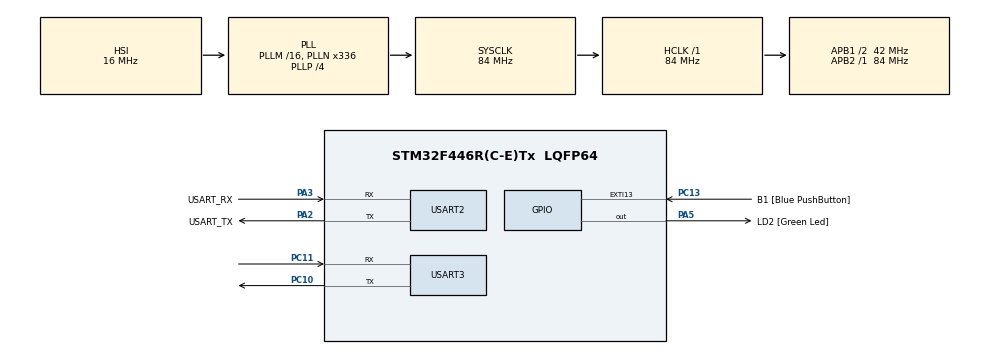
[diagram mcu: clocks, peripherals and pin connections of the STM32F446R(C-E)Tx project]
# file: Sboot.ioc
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Mcu.Family=STM32F4
Mcu.Name=STM32F446R(C-E)Tx
Mcu.Package=LQFP64
NVIC.PriorityGroup=NVIC_PRIORITYGROUP_0
PA13.GPIO_Label=TMS
PA13.Mode=Serial_Wire
PA13.Signal=SYS_JTMS-SWDIO
PA14.GPIO_Label=TCK
PA14.Mode=Serial_Wire
PA14.Signal=SYS_JTCK-SWCLK
PA2.GPIO_Label=USART_TX
PA2.Mode=Asynchronous
PA2.Signal=USART2_TX
PA3.GPIO_Label=USART_RX
PA3.Mode=Asynchronous
PA3.Signal=USART2_RX
PA5.GPIO_Label=LD2 [Green Led]
PA5.Signal=GPIO_Output
PB3.GPIO_Label=SWO
PB3.Signal=SYS_JTDO-SWO
PC10.Mode=Asynchronous
PC10.Signal=USART3_TX
PC11.Mode=Asynchronous
PC11.Signal=USART3_RX
PC13.GPIO_Label=B1 [Blue PushButton]
PC13.GPIO_ModeDefaultEXTI=GPIO_MODE_IT_FALLING
PC13.Signal=GPXTI13
PC14-OSC32_IN.Mode=LSE-External-Oscillator
PC14-OSC32_IN.Signal=RCC_OSC32_IN
PC15-OSC32_OUT.Mode=LSE-External-Oscillator
PC15-OSC32_OUT.Signal=RCC_OSC32_OUT
PH0-OSC_IN.Mode=HSE-External-Oscillator
PH0-OSC_IN.Signal=RCC_OSC_IN
PH1-OSC_OUT.Mode=HSE-External-Oscillator
PH1-OSC_OUT.Signal=RCC_OSC_OUT
ProjectManager.HeapSize=0x200
ProjectManager.StackSize=0x400
ProjectManager.TargetToolchain=STM32CubeIDE
RCC.48MHZClocksFreq_Value=84000000
RCC.AHBFreq_Value=84000000
RCC.APB1CLKDivider=RCC_HCLK_DIV2
RCC.APB1Freq_Value=42000000
RCC.APB1TimFreq_Value=84000000
RCC.APB2Freq_Value=84000000
RCC.APB2TimFreq_Value=84000000
RCC.CortexFreq_Value=84000000
RCC.FLatency-AdvancedSettings=FLASH_LATENCY_2
RCC.HCLKFreq_Value=84000000
RCC.HSE_VALUE=8000000
RCC.HSI_VALUE=16000000
RCC.PLLN=336
RCC.PLLP=RCC_PLLP_DIV4
RCC.SYSCLKFreq_VALUE=84000000
RCC.SYSCLKSource=RCC_SYSCLKSOURCE_PLLCLK
RCC.USBFreq_Value=168000000
RCC.VCOOutputFreq_Value=336000000
USART2.VirtualMode=VM_ASYNC
USART3.VirtualMode=VM_ASYNC
VP_CRC_VS_CRC.Mode=CRC_Activate
board=NUCLEO-F446RE

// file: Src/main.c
/* USER CODE BEGIN Header */
/**
 ******************************************************************************
 * @file           : main.c
 * @brief          : Main program body
 ******************************************************************************
 * @attention
 *
 * <h2><center>&copy; Copyright (c) 2019 STMicroelectronics.
 * All rights reserved.</center></h2>
 *
 * This software component is licensed by ST under BSD 3-Clause license,
 * the "License"; You may not use this file except in compliance with the
 * License. You may obtain a copy of the License at:
 *                        opensource.org/licenses/BSD-3-Clause
 *
 ******************************************************************************
 */
/* USER CODE END Header */

#include "main.h"

#include <stdint.h>
#include <stdarg.h>
#include <string.h>

/* USER CODE BEGIN PD */

// Uncomment the below line to get debug messages over debug uart
#define BL_DEBUG_MSG_EN

#define D_UART &huart3
#define C_UART &huart2

/* USER CODE END PD */

CRC_HandleTypeDef hcrc;

UART_HandleTypeDef huart2;
UART_HandleTypeDef huart3;

void SystemClock_Config(void);
static void MX_GPIO_Init(void);
static void MX_USART2_UART_Init(void);
static void MX_CRC_Init(void);
static void MX_USART3_UART_Init(void);

/* USER CODE BEGIN 0 */
#define BL_RX_LEN  200
uint8_t bl_rx_buffer[BL_RX_LEN];
/* USER CODE END 0 */

int main(void)
{

	/* MCU Configuration--------------------------------------------------------*/

	/* Reset of all peripherals, Initializes the Flash interface and the Systick. */
	HAL_Init();

	/* Configure the system clock */
	SystemClock_Config();

	/* Initialize all configured peripherals */
	MX_GPIO_Init();
	MX_USART2_UART_Init();
	MX_CRC_Init();
	MX_USART3_UART_Init();

	/* USER CODE BEGIN 2 */

	printmsg("BL_DEBUG_MSG:Hello from Bootloader\n\r");

	/* Check whether the on board button is pressed or not */
	if (HAL_GPIO_ReadPin(B1_GPIO_Port, B1_Pin) == GPIO_PIN_RESET)
	{
		printmsg("BL_DEBUG_MSG:Button is pressed .... Entering BL mode\n\r");
		Bootloader_UART_Read_Data();
	}
	else
	{
		printmsg("BL_DEBUG_MSG:Button is not pressed .... Executing user application\n\r");
		Bootloader_Jump_To_User_App();
	}
	/* USER CODE END 2 */
}

/**
 * @brief Print formatted string to console over UART
 * @retval None
 */
void printmsg(char *format, ...)
{
#ifdef BL_DEBUG_MSG_EN
	char str[80];

	/*Extract the the argument list using VA apis */
	va_list args;
	va_start(args, format);
	vsprintf(str, format, args);
	HAL_UART_Transmit(D_UART, (uint8_t *) str, strlen(str), HAL_MAX_DELAY);
	va_end(args);
#endif
}

void SystemClock_Config(void)
{
	RCC_OscInitTypeDef RCC_OscInitStruct = { 0 };
	RCC_ClkInitTypeDef RCC_ClkInitStruct = { 0 };

	/** Configure the main internal regulator output voltage
	 */
	__HAL_RCC_PWR_CLK_ENABLE();
	__HAL_PWR_VOLTAGESCALING_CONFIG(PWR_REGULATOR_VOLTAGE_SCALE3);
	/** Initializes the CPU, AHB and APB busses clocks
	 */
	RCC_OscInitStruct.OscillatorType = RCC_OSCILLATORTYPE_HSI;
	RCC_OscInitStruct.HSIState = RCC_HSI_ON;
	RCC_OscInitStruct.HSICalibrationValue = RCC_HSICALIBRATION_DEFAULT;
	RCC_OscInitStruct.PLL.PLLState = RCC_PLL_ON;
	RCC_OscInitStruct.PLL.PLLSource = RCC_PLLSOURCE_HSI;
	RCC_OscInitStruct.PLL.PLLM = 16;
	RCC_OscInitStruct.PLL.PLLN = 336;
	RCC_OscInitStruct.PLL.PLLP = RCC_PLLP_DIV4;
	RCC_OscInitStruct.PLL.PLLQ = 2;
	RCC_OscInitStruct.PLL.PLLR = 2;
	if (HAL_RCC_OscConfig(&RCC_OscInitStruct) != HAL_OK)
	{
		Error_Handler();
	}
	/** Initializes the CPU, AHB and APB busses clocks
	 */
	RCC_ClkInitStruct.ClockType = RCC_CLOCKTYPE_HCLK | RCC_CLOCKTYPE_SYSCLK | RCC_CLOCKTYPE_PCLK1 | RCC_CLOCKTYPE_PCLK2;
	RCC_ClkInitStruct.SYSCLKSource = RCC_SYSCLKSOURCE_PLLCLK;
	RCC_ClkInitStruct.AHBCLKDivider = RCC_SYSCLK_DIV1;
	RCC_ClkInitStruct.APB1CLKDivider = RCC_HCLK_DIV2;
	RCC_ClkInitStruct.APB2CLKDivider = RCC_HCLK_DIV1;

	if (HAL_RCC_ClockConfig(&RCC_ClkInitStruct, FLASH_LATENCY_2) != HAL_OK)
	{
		Error_Handler();
	}
}

static void MX_CRC_Init(void)
{

	hcrc.Instance = CRC;
	if (HAL_CRC_Init(&hcrc) != HAL_OK)
	{
		Error_Handler();
	}

}

static void MX_USART2_UART_Init(void)
{

	huart2.Instance = USART2;
	huart2.Init.BaudRate = 115200;
	huart2.Init.WordLength = UART_WORDLENGTH_8B;
	huart2.Init.StopBits = UART_STOPBITS_1;
	huart2.Init.Parity = UART_PARITY_NONE;
	huart2.Init.Mode = UART_MODE_TX_RX;
	huart2.Init.HwFlowCtl = UART_HWCONTROL_NONE;
	huart2.Init.OverSampling = UART_OVERSAMPLING_16;
	if (HAL_UART_Init(&huart2) != HAL_OK)
	{
		Error_Handler();
	}

}

static void MX_USART3_UART_Init(void)
{

	huart3.Instance = USART3;
	huart3.Init.BaudRate = 115200;
	huart3.Init.WordLength = UART_WORDLENGTH_8B;
	huart3.Init.StopBits = UART_STOPBITS_1;
	huart3.Init.Parity = UART_PARITY_NONE;
	huart3.Init.Mode = UART_MODE_TX_RX;
	huart3.Init.HwFlowCtl = UART_HWCONTROL_NONE;
	huart3.Init.OverSampling = UART_OVERSAMPLING_16;
	if (HAL_UART_Init(&huart3) != HAL_OK)
	{
		Error_Handler();
	}

}

static void MX_GPIO_Init(void)
{
	GPIO_InitTypeDef GPIO_InitStruct = { 0 };

	/* GPIO Ports Clock Enable */
	__HAL_RCC_GPIOC_CLK_ENABLE();
	__HAL_RCC_GPIOH_CLK_ENABLE();
	__HAL_RCC_GPIOA_CLK_ENABLE();
	__HAL_RCC_GPIOB_CLK_ENABLE();

	/*Configure GPIO pin Output Level */
	HAL_GPIO_WritePin(LD2_GPIO_Port, LD2_Pin, GPIO_PIN_RESET);

	/*Configure GPIO pin : B1_Pin */
	GPIO_InitStruct.Pin = B1_Pin;
	GPIO_InitStruct.Mode = GPIO_MODE_IT_FALLING;
	GPIO_InitStruct.Pull = GPIO_NOPULL;
	HAL_GPIO_Init(B1_GPIO_Port, &GPIO_InitStruct);

	/*Configure GPIO pin : LD2_Pin */
	GPIO_InitStruct.Pin = LD2_Pin;
	GPIO_InitStruct.Mode = GPIO_MODE_OUTPUT_PP;
	GPIO_InitStruct.Pull = GPIO_NOPULL;
	GPIO_InitStruct.Speed = GPIO_SPEED_FREQ_LOW;
	HAL_GPIO_Init(LD2_GPIO_Port, &GPIO_InitStruct);

}

/* USER CODE BEGIN 4 (Bootloader functions implementation) */

void Bootloader_UART_Read_Data(void)
{
	uint16_t rec_len = 0;

	while (1)
	{
		memset(bl_rx_buffer, 0, 200);
		/*
		 * Read and decode commands coming from host
		 * Read the first two bytes, which gives the length of the command packet
		 */
		HAL_UART_Receive(C_UART, bl_rx_buffer, 2, HAL_MAX_DELAY);
		rec_len = bl_rx_buffer[0];
		rec_len = rec_len << 8;
		rec_len += bl_rx_buffer[1];

		HAL_UART_Receive(C_UART, &bl_rx_buffer[2], rec_len, HAL_MAX_DELAY);

		switch (bl_rx_buffer[2])
		{
		case BL_GET_VER:
			Bootloader_Handle_GetVer_cmd(bl_rx_buffer);
			break;
		case BL_GET_HELP:
			Bootloader_Handle_GetHelp_cmd(bl_rx_buffer);
			break;
		case BL_GET_CID:
			Bootloader_Handle_GetCid_cmd(bl_rx_buffer);
			break;
		case BL_GET_RDP_STATUS:
			Bootloader_Handle_GetRdp_cmd(bl_rx_buffer);
			break;
		case BL_GO_TO_ADDR:
			Bootloader_Handle_Go_cmd(bl_rx_buffer);
			break;
		case BL_FLASH_ERASE:
			Bootloader_Handle_Flash_Erase_cmd(bl_rx_buffer);
			break;
		case BL_MEM_WRITE:
			Bootloader_Handle_Mem_Write_cmd(bl_rx_buffer);
			break;
		case BL_EN_RW_PROTECT:
			Bootloader_Handle_Enable_RW_Protect(bl_rx_buffer);
			break;
		case BL_MEM_READ:
			Bootloader_Handle_Mem_Read(bl_rx_buffer);
			break;
		case BL_READ_SECTOR_P_STATUS:
			Bootloader_Handle_Read_Sector_Protection_Status(bl_rx_buffer);
			break;
		case BL_OTP_READ:
			Bootloader_Handle_Read_OTP(bl_rx_buffer);
			break;
		case BL_DIS_R_W_PROTECT:
			Bootloader_Handle_Disable_RW_Protect(bl_rx_buffer);
			break;
		default:
			printmsg("BL_DEBUG_MSG:Invalid command code received from host\n\r");
			break;
		}

	}
}

void Bootloader_Jump_To_User_App(void)
{
	// a function pointer to hold the address of the reset handler of the user app
	void (*app_reset_handler)(void);

	printmsg("BL_DEBUG_MSG:Handing control over to user application\n\r");

	// configure the MSP by reading the value from the base address of the user app
	uint32_t msp_value = *(volatile uint32_t *) USER_APPLICATION_BASE_ADDRESS;
	printmsg("BL_DEBUG_MSG:MSP value : %#x\n\r", msp_value);

	// This function comes from CMSIS.

	__set_MSP(msp_value);

	// SCB->VTOR = FLASH_SECTOR1_BASE_ADDRESS; // Vector Table Offset Register

	/* fetch the reset handler address of the user application
	 * from the location USER_APPLICATION_BASE_ADDRESS+4
	 */
	uint32_t resethandler_address = *(volatile uint32_t *) (USER_APPLICATION_BASE_ADDRESS + 4);

	app_reset_handler = (void*) resethandler_address;

	printmsg("BL_DEBUG_MSG:App reset handler addr : %#x\n\r", app_reset_handler);

	// jump to reset handler of the user application
	printmsg("BL_DEBUG_MSG:Starting user application\n\r");
	app_reset_handler();
}

void Bootloader_Handle_GetVer_cmd(uint8_t *bl_rx_buffer)
{
	uint8_t bl_version;

	printmsg("BL_DEBUG_MSG:Bootloader_Handle_GetVer_cmd\n\r");

	// calculate command packet length (first 2 bytes)
	uint32_t command_packet_len = ((bl_rx_buffer[0] << 8) | bl_rx_buffer[1]) + 1;

	// extract crc sent by host
	uint32_t host_crc = *((uint32_t * ) (bl_rx_buffer + command_packet_len - 4));

	if(! Bootloader_Verify_CRC(bl_rx_buffer, command_packet_len - 4, host_crc))
	{
		printmsg("BL_DEBUG_MSG:Checksum Success!!\n\r");
		Bootloader_Send_ack(bl_rx_buffer[0], 1);
		bl_version = Get_Bootloader_Version();
		printmsg("BL_DEBUG_MSG:BL_VER : %d %#x\n\r",bl_version,bl_version);
		Bootloader_UART_Write_Data(&bl_rx_buffer, 1);
	}
}

void Bootloader_Handle_GetHelp_cmd(uint8_t *pBuffer)
{

}

void Bootloader_Handle_GetCid_cmd(uint8_t *pBuffer)
{

}

void Bootloader_Handle_GetRdp_cmd(uint8_t *pBuffer)
{

}

void Bootloader_Handle_Go_cmd(uint8_t *pBuffer)
{

}

void Bootloader_Handle_Flash_Erase_cmd(uint8_t *pBuffer)
{

}

void Bootloader_Handle_Mem_Write_cmd(uint8_t *pBuffer)
{

}

void Bootloader_Handle_Enable_RW_Protect(uint8_t *pBuffer)
{

}

void Bootloader_Handle_Mem_Read (uint8_t *pBuffer)
{

}

void Bootloader_Handle_Read_Sector_Protection_Status(uint8_t *pBuffer)
{

}

void Bootloader_Handle_Read_OTP(uint8_t *pBuffer)
{

}

void Bootloader_Handle_Disable_RW_Protect(uint8_t *pBuffer)
{

}

void Bootloader_Send_ack(uint8_t command_code, uint16_t follow_len)
{
	// Ack packet contains 3 bytes, first byte is the ack code, next two bytes gives the length of response to follow
	uint8_t ack_buf[3];
	ack_buf[0] = BL_ACK;
	ack_buf[1] = *((uint8_t *) &(follow_len) + 1);
	ack_buf[2] = *((uint8_t *) &(follow_len) + 0);
	HAL_UART_Transmit(C_UART,ack_buf,3,HAL_MAX_DELAY);
}

void Bootloader_Send_nack(void)
{
	uint8_t nack = BL_NACK;
	HAL_UART_Transmit(C_UART,&nack,1,HAL_MAX_DELAY);
}

uint8_t Bootloader_Verify_CRC(uint8_t *pData, uint32_t len, uint32_t crc_host)
{
    uint32_t uwCRCValue = 0xff;

    for (uint32_t i = 0 ; i < len ; i++)
	{
        uint32_t i_data = pData[i];
        uwCRCValue = HAL_CRC_Accumulate(&hcrc, &i_data, 1);
	}

	 /* Reset CRC Calculation Unit */
  __HAL_CRC_DR_RESET(&hcrc);

	if( uwCRCValue == crc_host)
	{
		return VERIFY_CRC_SUCCESS;
	}

	return VERIFY_CRC_FAIL;
}

void Bootloader_UART_Write_Data(uint8_t *pBuffer, uint32_t len)
{
	HAL_UART_Transmit(C_UART, pBuffer, len, HAL_MAX_DELAY);
}

/*
 *  @return macro value of bootloader version
 */
uint8_t Get_Bootloader_Version(void)
{
  return (uint8_t)BL_VERSION;
}

/* USER CODE END 4 (Bootloader functions implementation) */

void Error_Handler(void)
{
}

/************************ (C) COPYRIGHT STMicroelectronics *****END OF FILE****/
